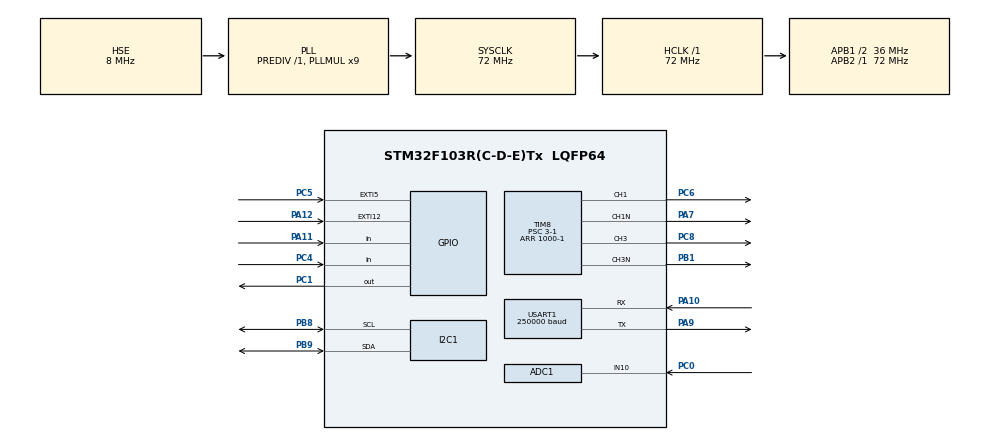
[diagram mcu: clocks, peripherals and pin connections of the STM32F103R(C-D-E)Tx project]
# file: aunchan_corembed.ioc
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ADC1.Channel-36\#ChannelRegularConversion=ADC_CHANNEL_10
ADC1.Channel-39\#ChannelRegularConversion=ADC_CHANNEL_TEMPSENSOR
ADC1.ContinuousConvMode=ENABLE
ADC1.DataAlign=ADC_DATAALIGN_RIGHT
ADC1.DiscontinuousConvMode=DISABLE
ADC1.EnableAnalogWatchDog=false
ADC1.EnableRegularConversion=ENABLE
ADC1.ExternalTrigConv=ADC_SOFTWARE_START
ADC1.InjNumberOfConversion=0
ADC1.NbrOfConversion=2
ADC1.NbrOfConversionFlag=1
ADC1.Rank-36\#ChannelRegularConversion=1
ADC1.Rank-39\#ChannelRegularConversion=2
ADC1.SamplingTime-36\#ChannelRegularConversion=ADC_SAMPLETIME_55CYCLES_5
ADC1.SamplingTime-39\#ChannelRegularConversion=ADC_SAMPLETIME_55CYCLES_5
ADC1.ScanConvMode=ADC_SCAN_ENABLE
ADC1.master=1
Dma.ADC1.2.Direction=DMA_PERIPH_TO_MEMORY
Dma.ADC1.2.Instance=DMA1_Channel1
Dma.ADC1.2.MemDataAlignment=DMA_MDATAALIGN_WORD
Dma.ADC1.2.MemInc=DMA_MINC_ENABLE
Dma.ADC1.2.Mode=DMA_CIRCULAR
Dma.ADC1.2.PeriphDataAlignment=DMA_PDATAALIGN_WORD
Dma.ADC1.2.PeriphInc=DMA_PINC_DISABLE
Dma.ADC1.2.Priority=DMA_PRIORITY_MEDIUM
Dma.Request0=USART1_RX
Dma.Request1=USART1_TX
Dma.Request2=ADC1
Dma.USART1_RX.0.Direction=DMA_PERIPH_TO_MEMORY
Dma.USART1_RX.0.Instance=DMA1_Channel5
Dma.USART1_RX.0.MemDataAlignment=DMA_MDATAALIGN_BYTE
Dma.USART1_RX.0.MemInc=DMA_MINC_ENABLE
Dma.USART1_RX.0.Mode=DMA_NORMAL
Dma.USART1_RX.0.PeriphDataAlignment=DMA_PDATAALIGN_BYTE
Dma.USART1_RX.0.PeriphInc=DMA_PINC_DISABLE
Dma.USART1_RX.0.Priority=DMA_PRIORITY_VERY_HIGH
Dma.USART1_TX.1.Direction=DMA_MEMORY_TO_PERIPH
Dma.USART1_TX.1.Instance=DMA1_Channel4
Dma.USART1_TX.1.MemDataAlignment=DMA_MDATAALIGN_BYTE
Dma.USART1_TX.1.MemInc=DMA_MINC_ENABLE
Dma.USART1_TX.1.Mode=DMA_NORMAL
Dma.USART1_TX.1.PeriphDataAlignment=DMA_PDATAALIGN_BYTE
Dma.USART1_TX.1.PeriphInc=DMA_PINC_DISABLE
Dma.USART1_TX.1.Priority=DMA_PRIORITY_VERY_HIGH
I2C1.I2C_Mode=I2C_Fast
I2C1.NoStretchMode=I2C_NOSTRETCH_DISABLE
Mcu.Family=STM32F1
Mcu.Name=STM32F103R(C-D-E)Tx
Mcu.Package=LQFP64
NVIC.ADC1_2_IRQn=true\:0\:0\:false\:false\:true\:true
NVIC.DMA1_Channel1_IRQn=true\:0\:0\:false\:false\:true\:false
NVIC.DMA1_Channel4_IRQn=true\:0\:0\:false\:false\:true\:false
NVIC.DMA1_Channel5_IRQn=true\:0\:0\:false\:false\:true\:false
NVIC.EXTI15_10_IRQn=true\:0\:0\:false\:false\:true\:true
NVIC.EXTI9_5_IRQn=true\:0\:0\:false\:false\:true\:true
NVIC.PriorityGroup=NVIC_PRIORITYGROUP_4
NVIC.TIM6_IRQn=true\:0\:0\:true\:true\:true\:1\:true
NVIC.USART1_IRQn=true\:0\:0\:false\:false\:true\:true
PA10.GPIO_Mode=GPIO_MODE_INPUT
PA10.GPIO_PuPd=GPIO_NOPULL
PA10.Mode=Asynchronous
PA10.Signal=USART1_RX
PA11.Signal=GPIO_Input
PA12.GPIO_ModeDefaultEXTI=GPIO_MODE_IT_RISING_FALLING
PA12.GPIO_PuPd=GPIO_NOPULL
PA12.Signal=GPXTI12
PA13.Mode=Serial_Wire
PA13.Signal=SYS_JTMS-SWDIO
PA14.Mode=Serial_Wire
PA14.Signal=SYS_JTCK-SWCLK
PA7.GPIO_Speed=GPIO_SPEED_FREQ_HIGH
PA7.Mode=PWM Generation1 CH1 CH1N
PA7.Signal=TIM8_CH1N
PA9.Mode=Asynchronous
PA9.Signal=USART1_TX
PB1.GPIO_Speed=GPIO_SPEED_FREQ_HIGH
PB1.Mode=PWM Generation3 CH3 CH3N
PB1.Signal=TIM8_CH3N
PB8.GPIO_Mode=GPIO_MODE_AF_OD
PB8.GPIO_Speed=GPIO_SPEED_FREQ_HIGH
PB8.Mode=I2C
PB8.Signal=I2C1_SCL
PB9.GPIO_Mode=GPIO_MODE_AF_OD
PB9.GPIO_Speed=GPIO_SPEED_FREQ_HIGH
PB9.Mode=I2C
PB9.Signal=I2C1_SDA
PC0.Signal=ADCx_IN10
PC1.Signal=GPIO_Output
PC4.Signal=GPIO_Input
PC5.GPIO_ModeDefaultEXTI=GPIO_MODE_IT_RISING_FALLING
PC5.GPIO_PuPd=GPIO_NOPULL
PC5.Signal=GPXTI5
PC6.GPIO_Speed=GPIO_SPEED_FREQ_HIGH
PC6.Signal=S_TIM8_CH1
PC8.GPIO_Speed=GPIO_SPEED_FREQ_HIGH
PC8.Signal=S_TIM8_CH3
PD0-OSC_IN.Mode=HSE-External-Oscillator
PD0-OSC_IN.Signal=RCC_OSC_IN
PD1-OSC_OUT.Mode=HSE-External-Oscillator
PD1-OSC_OUT.Signal=RCC_OSC_OUT
ProjectManager.HeapSize=0x200
ProjectManager.StackSize=0x400
ProjectManager.TargetToolchain=SW4STM32
RCC.ADCPresc=RCC_ADCPCLK2_DIV8
RCC.AHBFreq_Value=72000000
RCC.APB1CLKDivider=RCC_HCLK_DIV2
RCC.APB1Freq_Value=36000000
RCC.APB1TimFreq_Value=72000000
RCC.APB2Freq_Value=72000000
RCC.APB2TimFreq_Value=72000000
RCC.HCLKFreq_Value=72000000
RCC.PLLMUL=RCC_PLL_MUL9
RCC.PLLSourceVirtual=RCC_PLLSOURCE_HSE
RCC.SYSCLKFreq_VALUE=72000000
RCC.SYSCLKSource=RCC_SYSCLKSOURCE_PLLCLK
RCC.USBFreq_Value=72000000
SH.ADCx_IN10.0=ADC1_IN10,IN10
SH.S_TIM8_CH1.0=TIM8_CH1,PWM Generation1 CH1 CH1N
SH.S_TIM8_CH3.0=TIM8_CH3,PWM Generation3 CH3 CH3N
TIM6.Period=1000-1
TIM6.Prescaler=720-1
TIM8.Channel-PWM\ Generation1\ CH1\ CH1N=TIM_CHANNEL_1
TIM8.Channel-PWM\ Generation3\ CH3\ CH3N=TIM_CHANNEL_3
TIM8.DeadTime=72
TIM8.Period=1000-1
TIM8.Prescaler=3-1
TIM8.Pulse-PWM\ Generation1\ CH1\ CH1N=0
TIM8.Pulse-PWM\ Generation3\ CH3\ CH3N=0
USART1.BaudRate=250000
USART1.VirtualMode=VM_ASYNC
VP_ADC1_TempSens_Input.Mode=IN-TempSens
VP_TIM6_VS_ClockSourceINT.Mode=Enable_Timer
board=aunchan_corembed

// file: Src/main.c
/**
  ******************************************************************************
  * @file           : main.c
  * @brief          : Main program body
  ******************************************************************************
  ** This notice applies to any and all portions of this file
  * that are not between comment pairs USER CODE BEGIN and
  * USER CODE END. Other portions of this file, whether
  * inserted by the user or by software development tools
  * are owned by their respective copyright owners.
  *
  * COPYRIGHT(c) 2018 STMicroelectronics
  *
  * Redistribution and use in source and binary forms, with or without modification,
  * are permitted provided that the following conditions are met:
  *   1. Redistributions of source code must retain the above copyright notice,
  *      this list of conditions and the following disclaimer.
  *   2. Redistributions in binary form must reproduce the above copyright notice,
  *      this list of conditions and the following disclaimer in the documentation
  *      and/or other materials provided with the distribution.
  *   3. Neither the name of STMicroelectronics nor the names of its contributors
  *      may be used to endorse or promote products derived from this software
  *      without specific prior written permission.
  *
  * THIS SOFTWARE IS PROVIDED BY THE COPYRIGHT HOLDERS AND CONTRIBUTORS "AS IS"
  * AND ANY EXPRESS OR IMPLIED WARRANTIES, INCLUDING, BUT NOT LIMITED TO, THE
  * IMPLIED WARRANTIES OF MERCHANTABILITY AND FITNESS FOR A PARTICULAR PURPOSE ARE
  * DISCLAIMED. IN NO EVENT SHALL THE COPYRIGHT HOLDER OR CONTRIBUTORS BE LIABLE
  * FOR ANY DIRECT, INDIRECT, INCIDENTAL, SPECIAL, EXEMPLARY, OR CONSEQUENTIAL
  * DAMAGES (INCLUDING, BUT NOT LIMITED TO, PROCUREMENT OF SUBSTITUTE GOODS OR
  * SERVICES; LOSS OF USE, DATA, OR PROFITS; OR BUSINESS INTERRUPTION) HOWEVER
  * CAUSED AND ON ANY THEORY OF LIABILITY, WHETHER IN CONTRACT, STRICT LIABILITY,
  * OR TORT (INCLUDING NEGLIGENCE OR OTHERWISE) ARISING IN ANY WAY OUT OF THE USE
  * OF THIS SOFTWARE, EVEN IF ADVISED OF THE POSSIBILITY OF SUCH DAMAGE.
  *
  ******************************************************************************
  */
#include "main.h"
#include "stm32f1xx_hal.h"

/* USER CODE BEGIN Includes */
#include "mpu6050.h"
#include "mainpp.h"
#include <math.h>
/*------Initial Machanism------*/
#define WHEEL_RADIUS 0.031
#define WHEEL_SEPARATION 0.19

/* USER CODE END Includes */

ADC_HandleTypeDef hadc1;
DMA_HandleTypeDef hdma_adc1;

I2C_HandleTypeDef hi2c1;

TIM_HandleTypeDef htim6;
TIM_HandleTypeDef htim8;

UART_HandleTypeDef huart1;
DMA_HandleTypeDef hdma_usart1_rx;
DMA_HandleTypeDef hdma_usart1_tx;

/* USER CODE BEGIN PV */
/* Private variables ---------------------------------------------------------*/
/*------ Motor and Encoder ------*/
typedef struct Encoder
{
	//uint8_t signalA;
	//uint8_t signalB;
	//uint8_t currentState;
	//uint8_t previousState;
	int steps;
	int pre_steps;
}Encoder;
typedef struct Motor
{
	int PWM;
	float velocity;
	float Kp;
	float Ki;
	float Kd;
	float error;
	float error_prior;
	float integral;
	float derivative;
	Encoder encoder;
	float angle,preAngle;
}Motor;
Motor M1 = {
		.Kp = 0.1,
		.Ki = 3,
		.Kd = 0.5,
		.error_prior = 0,
		.integral = 0,
		.encoder.pre_steps = 0,
		.preAngle = 0
};
Motor M2 = {
		.Kp = 0.1,
		.Ki = 3,
		.Kd = 0.5,
		.error_prior = 0,
		.integral = 0,
		.encoder.pre_steps = 0,
		.preAngle = 0
};
//float samplingRate = 0.001;
float speedWheel[2] = {0};
Twist msg;
Twist preMsg;

/*------ Imu ------*/
Imu mpu6050;
/*------ RTOS ------*/
int nowTick = 0;
int lastTickROS = 0;
int lastTickIMU = 0;
FlagStatus debugFlag = RESET;

/* USER CODE END PV */

void SystemClock_Config(void);
static void MX_GPIO_Init(void);
static void MX_DMA_Init(void);
static void MX_USART1_UART_Init(void);
static void MX_TIM8_Init(void);
static void MX_I2C1_Init(void);
static void MX_TIM6_Init(void);
static void MX_ADC1_Init(void);
static void MX_NVIC_Init(void);

void HAL_TIM_MspPostInit(TIM_HandleTypeDef *htim);

/* USER CODE BEGIN PFP */
/* Private function prototypes -----------------------------------------------*/
#ifdef __GNUC__
/* With GCC, small printf (option LD Linker->Libraries->Small printf
   set to 'Yes') calls __io_putchar() */
#define PUTCHAR_PROTOTYPE int __io_putchar(int ch)
#else
#define PUTCHAR_PROTOTYPE int fputc(int ch, FILE *f)
#endif /* __GNUC__ */

void setPWM(TIM_HandleTypeDef * _timer, uint32_t _channel, uint16_t _pulse);
void control (int desired_vel, Motor* M);
/* USER CODE END PFP */

/* USER CODE BEGIN 0 */
uint32_t ADC_BUFF[2];
uint32_t rawBattery;
uint32_t rawTemp;
float battery;
float temp;
void HAL_ADC_ConvCpltCallback(ADC_HandleTypeDef* hadc)
{
		rawBattery = ADC_BUFF[0];
		rawTemp = ADC_BUFF[1];
}
/* USER CODE END 0 */

int main(void)
{

  /* MCU Configuration----------------------------------------------------------*/

  /* Reset of all peripherals, Initializes the Flash interface and the Systick. */
  HAL_Init();

  /* Configure the system clock */
  SystemClock_Config();

  /* Initialize all configured peripherals */
  MX_GPIO_Init();
  MX_DMA_Init();
  MX_USART1_UART_Init();
  MX_TIM8_Init();
  MX_I2C1_Init();
  MX_TIM6_Init();
  MX_ADC1_Init();

  /* Initialize interrupts */
  MX_NVIC_Init();
  /* USER CODE BEGIN 2 */

  HAL_ADC_Start_DMA(&hadc1,(uint32_t*)ADC_BUFF,2);
  HAL_ADC_Start_IT(&hadc1);

  HAL_TIM_PWM_Start(&htim8,TIM_CHANNEL_3);
  HAL_TIMEx_PWMN_Start(&htim8,TIM_CHANNEL_3);
  HAL_TIM_PWM_Start(&htim8,TIM_CHANNEL_1);
  HAL_TIMEx_PWMN_Start(&htim8,TIM_CHANNEL_1);
  HAL_TIM_Base_Start_IT(&htim6);

  HAL_Delay(10);

  setPWM(&htim8,TIM_CHANNEL_3,500);
  setPWM(&htim8,TIM_CHANNEL_1,500);

  mpu6050_init();
  setup();
  float yaw;
  //HAL_Delay(10000);
  uint32_t magnitude;
  /* USER CODE END 2 */

  /* Infinite loop */
  while (1)
  {

  /* USER CODE BEGIN 3 */
	  nowTick = HAL_GetTick();
	  if ((nowTick - lastTickROS) >= 50) //20Hz
	  {
		  loop();
		  battery = (((float)rawBattery * 3.3 * 11.67) / 4095.0);
		  temp = ((((float)rawTemp / 4095 * 3600) - 1430) / 4.3) + 25;
		  //ros2pid(pid);
		  //M1.Kp = M2.Kp = pid[0];
		  //M1.Kp = M2.Kp = pid[1];
		  //M1.Kp = M2.Kp = pid[2];
		  //double siny = +2.0 * (mpu6050.quat[0] * mpu6050.quat[3] + mpu6050.quat[1] * mpu6050.quat[2]);
		  //double cosy = +1.0 - 2.0 * (mpu6050.quat[2] * mpu6050.quat[2] + mpu6050.quat[3] * mpu6050.quat[3]);
		  //yaw = atan2(siny, cosy);
		  //yaw   *= 180.0f / PI;
		  //char debug[100];
		  //sprintf(debug,"Yaw = %f\r\n",yaw);
		  //DebugROS(debug);
		  lastTickROS = nowTick;
	  }

	  if ((nowTick - lastTickIMU) >= 10) //100Hz
	  {
		  mpu6050_read(mpu6050.gyro, mpu6050.accel, mpu6050.quat);
	      mpu6050.gyro[0] = (mpu6050.gyro[0] * PI)/180;
	      mpu6050.gyro[1] = (mpu6050.gyro[1] * PI)/180;
	      mpu6050.gyro[2] = (mpu6050.gyro[2] * PI)/180;
	      mpu6050.accel[0] = mpu6050.accel[0] * 9.80665;
	      mpu6050.accel[1] = mpu6050.accel[1] * 9.80665;
	      mpu6050.accel[2] = mpu6050.accel[2] * 9.80665;
	      magnitude = sqrt(mpu6050.quat[0]*mpu6050.quat[0] + mpu6050.quat[1]*mpu6050.quat[1] + mpu6050.quat[2]*mpu6050.quat[2] + mpu6050.quat[3]*mpu6050.quat[3]);
	      //if(magnitude > 0 && magnitude <= 65536)
	      //{
			  mpu6050.quat[0] /= (float)magnitude;
			  mpu6050.quat[1] /= (float)magnitude;
			  mpu6050.quat[2] /= (float)magnitude;
			  mpu6050.quat[3] /= (float)magnitude;
			  imu2ros(mpu6050);
	      //}
		  //char debug[100];
		  //sprintf(debug,"%lu\r\n",magnitude);
		  //DebugROS(debug);
		  lastTickIMU = nowTick;

	  }

	  //float siny = +2.0 * (mpu6050.quat[0] * mpu6050.quat[3] + mpu6050.quat[1] * mpu6050.quat[2]);
	  //float cosy = +1.0 - 2.0 * (mpu6050.quat[2] * mpu6050.quat[2] + mpu6050.quat[3] * mpu6050.quat[3]);
	  //yaw = atan2(siny, cosy);
	  //float delta_x = ();

	  if(debugFlag == SET)
	  {
		  debugFlag = RESET;

		  ros2velocity(&msg);
		  /*if(msg.linear[0] * preMsg.linear[0] < 0 || msg.angular[2] * preMsg.angular[2] < 0)
		  {
			  M1.error = M2.error = 0;
			  M1.error_prior = M2.error_prior = 0;
			  M1.integral = M2.integral = 0;
			  M1.derivative = M2.derivative = 0;
		  }
		  preMsg = msg;*/

		  speedWheel[0] = -msg.linear[0] + (msg.angular[2] * WHEEL_SEPARATION / 2);
		  speedWheel[1] = -msg.linear[0] - (msg.angular[2] * WHEEL_SEPARATION / 2);
		  speedWheel[0] = speedWheel[0] / WHEEL_RADIUS;
		  speedWheel[1] = speedWheel[1] / WHEEL_RADIUS;

		  M1.angle = M1.encoder.steps * ((2 * 3.1415) / 780);
		  M1.velocity = (M1.angle - M1.preAngle) / 0.01;
		  M1.preAngle = M1.angle;
		  M2.angle = M2.encoder.steps * ((2 * 3.1415) / 780);
		  M2.velocity = (M2.angle - M2.preAngle) / 0.01;
		  M2.preAngle = M2.angle;
		  control(speedWheel[0],&M1);
		  control(speedWheel[1],&M2);

		  //char Debug[100];
		  //sprintf(Debug,"Desired = %f, Current =  %f ",speedWheel[0],M1.velocity);
		  //sprintf(Debug,"Desired = %f, Current =  %f\r\n",speedWheel[1],M2.velocity);
		  //DebugROS(Debug);

		  if(msg.linear[0] == 0 && msg.angular[2] == 0)
		  {
			  HAL_TIM_PWM_Stop(&htim8,TIM_CHANNEL_3);
			  HAL_TIMEx_PWMN_Stop(&htim8,TIM_CHANNEL_3);
			  HAL_TIM_PWM_Stop(&htim8,TIM_CHANNEL_1);
			  HAL_TIMEx_PWMN_Stop(&htim8,TIM_CHANNEL_1);
			  M1.error = M2.error = 0;
			  M1.error_prior = M2.error_prior = 0;
			  M1.integral = M2.integral = 0;
			  M1.derivative = M2.derivative = 0;
		  }

		  else
		  {
			  setPWM(&htim8,TIM_CHANNEL_3,M1.PWM);
			  setPWM(&htim8,TIM_CHANNEL_1,M2.PWM);
		  }
	  }

  }
  /* USER CODE END 3 */

}

void SystemClock_Config(void)
{

  RCC_OscInitTypeDef RCC_OscInitStruct;
  RCC_ClkInitTypeDef RCC_ClkInitStruct;
  RCC_PeriphCLKInitTypeDef PeriphClkInit;

    /**Initializes the CPU, AHB and APB busses clocks
    */
  RCC_OscInitStruct.OscillatorType = RCC_OSCILLATORTYPE_HSE;
  RCC_OscInitStruct.HSEState = RCC_HSE_ON;
  RCC_OscInitStruct.HSEPredivValue = RCC_HSE_PREDIV_DIV1;
  RCC_OscInitStruct.HSIState = RCC_HSI_ON;
  RCC_OscInitStruct.PLL.PLLState = RCC_PLL_ON;
  RCC_OscInitStruct.PLL.PLLSource = RCC_PLLSOURCE_HSE;
  RCC_OscInitStruct.PLL.PLLMUL = RCC_PLL_MUL9;
  if (HAL_RCC_OscConfig(&RCC_OscInitStruct) != HAL_OK)
  {
    _Error_Handler(__FILE__, __LINE__);
  }

    /**Initializes the CPU, AHB and APB busses clocks
    */
  RCC_ClkInitStruct.ClockType = RCC_CLOCKTYPE_HCLK|RCC_CLOCKTYPE_SYSCLK
                              |RCC_CLOCKTYPE_PCLK1|RCC_CLOCKTYPE_PCLK2;
  RCC_ClkInitStruct.SYSCLKSource = RCC_SYSCLKSOURCE_PLLCLK;
  RCC_ClkInitStruct.AHBCLKDivider = RCC_SYSCLK_DIV1;
  RCC_ClkInitStruct.APB1CLKDivider = RCC_HCLK_DIV2;
  RCC_ClkInitStruct.APB2CLKDivider = RCC_HCLK_DIV1;

  if (HAL_RCC_ClockConfig(&RCC_ClkInitStruct, FLASH_LATENCY_2) != HAL_OK)
  {
    _Error_Handler(__FILE__, __LINE__);
  }

  PeriphClkInit.PeriphClockSelection = RCC_PERIPHCLK_ADC;
  PeriphClkInit.AdcClockSelection = RCC_ADCPCLK2_DIV8;
  if (HAL_RCCEx_PeriphCLKConfig(&PeriphClkInit) != HAL_OK)
  {
    _Error_Handler(__FILE__, __LINE__);
  }

    /**Configure the Systick interrupt time
    */
  HAL_SYSTICK_Config(HAL_RCC_GetHCLKFreq()/1000);

    /**Configure the Systick
    */
  HAL_SYSTICK_CLKSourceConfig(SYSTICK_CLKSOURCE_HCLK);

  /* SysTick_IRQn interrupt configuration */
  HAL_NVIC_SetPriority(SysTick_IRQn, 0, 0);
}

/**
  * @brief NVIC Configuration.
  * @retval None
  */
static void MX_NVIC_Init(void)
{
  /* TIM6_IRQn interrupt configuration */
  HAL_NVIC_SetPriority(TIM6_IRQn, 0, 0);
  HAL_NVIC_EnableIRQ(TIM6_IRQn);
}

/* ADC1 init function */
static void MX_ADC1_Init(void)
{

  ADC_ChannelConfTypeDef sConfig;

    /**Common config
    */
  hadc1.Instance = ADC1;
  hadc1.Init.ScanConvMode = ADC_SCAN_ENABLE;
  hadc1.Init.ContinuousConvMode = ENABLE;
  hadc1.Init.DiscontinuousConvMode = DISABLE;
  hadc1.Init.ExternalTrigConv = ADC_SOFTWARE_START;
  hadc1.Init.DataAlign = ADC_DATAALIGN_RIGHT;
  hadc1.Init.NbrOfConversion = 2;
  if (HAL_ADC_Init(&hadc1) != HAL_OK)
  {
    _Error_Handler(__FILE__, __LINE__);
  }

    /**Configure Regular Channel
    */
  sConfig.Channel = ADC_CHANNEL_10;
  sConfig.Rank = ADC_REGULAR_RANK_1;
  sConfig.SamplingTime = ADC_SAMPLETIME_55CYCLES_5;
  if (HAL_ADC_ConfigChannel(&hadc1, &sConfig) != HAL_OK)
  {
    _Error_Handler(__FILE__, __LINE__);
  }

    /**Configure Regular Channel
    */
  sConfig.Channel = ADC_CHANNEL_TEMPSENSOR;
  sConfig.Rank = ADC_REGULAR_RANK_2;
  if (HAL_ADC_ConfigChannel(&hadc1, &sConfig) != HAL_OK)
  {
    _Error_Handler(__FILE__, __LINE__);
  }

}

/* I2C1 init function */
static void MX_I2C1_Init(void)
{

  hi2c1.Instance = I2C1;
  hi2c1.Init.ClockSpeed = 400000;
  hi2c1.Init.DutyCycle = I2C_DUTYCYCLE_2;
  hi2c1.Init.OwnAddress1 = 0;
  hi2c1.Init.AddressingMode = I2C_ADDRESSINGMODE_7BIT;
  hi2c1.Init.DualAddressMode = I2C_DUALADDRESS_DISABLE;
  hi2c1.Init.OwnAddress2 = 0;
  hi2c1.Init.GeneralCallMode = I2C_GENERALCALL_DISABLE;
  hi2c1.Init.NoStretchMode = I2C_NOSTRETCH_DISABLE;
  if (HAL_I2C_Init(&hi2c1) != HAL_OK)
  {
    _Error_Handler(__FILE__, __LINE__);
  }

}

/* TIM6 init function */
static void MX_TIM6_Init(void)
{

  TIM_MasterConfigTypeDef sMasterConfig;

  htim6.Instance = TIM6;
  htim6.Init.Prescaler = 720-1;
  htim6.Init.CounterMode = TIM_COUNTERMODE_UP;
  htim6.Init.Period = 1000-1;
  htim6.Init.AutoReloadPreload = TIM_AUTORELOAD_PRELOAD_DISABLE;
  if (HAL_TIM_Base_Init(&htim6) != HAL_OK)
  {
    _Error_Handler(__FILE__, __LINE__);
  }

  sMasterConfig.MasterOutputTrigger = TIM_TRGO_RESET;
  sMasterConfig.MasterSlaveMode = TIM_MASTERSLAVEMODE_DISABLE;
  if (HAL_TIMEx_MasterConfigSynchronization(&htim6, &sMasterConfig) != HAL_OK)
  {
    _Error_Handler(__FILE__, __LINE__);
  }

}

/* TIM8 init function */
static void MX_TIM8_Init(void)
{

  TIM_MasterConfigTypeDef sMasterConfig;
  TIM_OC_InitTypeDef sConfigOC;
  TIM_BreakDeadTimeConfigTypeDef sBreakDeadTimeConfig;

  htim8.Instance = TIM8;
  htim8.Init.Prescaler = 3-1;
  htim8.Init.CounterMode = TIM_COUNTERMODE_UP;
  htim8.Init.Period = 1000-1;
  htim8.Init.ClockDivision = TIM_CLOCKDIVISION_DIV1;
  htim8.Init.RepetitionCounter = 0;
  htim8.Init.AutoReloadPreload = TIM_AUTORELOAD_PRELOAD_DISABLE;
  if (HAL_TIM_PWM_Init(&htim8) != HAL_OK)
  {
    _Error_Handler(__FILE__, __LINE__);
  }

  sMasterConfig.MasterOutputTrigger = TIM_TRGO_RESET;
  sMasterConfig.MasterSlaveMode = TIM_MASTERSLAVEMODE_DISABLE;
  if (HAL_TIMEx_MasterConfigSynchronization(&htim8, &sMasterConfig) != HAL_OK)
  {
    _Error_Handler(__FILE__, __LINE__);
  }

  sConfigOC.OCMode = TIM_OCMODE_PWM1;
  sConfigOC.Pulse = 0;
  sConfigOC.OCPolarity = TIM_OCPOLARITY_HIGH;
  sConfigOC.OCNPolarity = TIM_OCNPOLARITY_HIGH;
  sConfigOC.OCFastMode = TIM_OCFAST_DISABLE;
  sConfigOC.OCIdleState = TIM_OCIDLESTATE_RESET;
  sConfigOC.OCNIdleState = TIM_OCNIDLESTATE_RESET;
  if (HAL_TIM_PWM_ConfigChannel(&htim8, &sConfigOC, TIM_CHANNEL_1) != HAL_OK)
  {
    _Error_Handler(__FILE__, __LINE__);
  }

  if (HAL_TIM_PWM_ConfigChannel(&htim8, &sConfigOC, TIM_CHANNEL_3) != HAL_OK)
  {
    _Error_Handler(__FILE__, __LINE__);
  }

  sBreakDeadTimeConfig.OffStateRunMode = TIM_OSSR_DISABLE;
  sBreakDeadTimeConfig.OffStateIDLEMode = TIM_OSSI_DISABLE;
  sBreakDeadTimeConfig.LockLevel = TIM_LOCKLEVEL_OFF;
  sBreakDeadTimeConfig.DeadTime = 72;
  sBreakDeadTimeConfig.BreakState = TIM_BREAK_DISABLE;
  sBreakDeadTimeConfig.BreakPolarity = TIM_BREAKPOLARITY_HIGH;
  sBreakDeadTimeConfig.AutomaticOutput = TIM_AUTOMATICOUTPUT_DISABLE;
  if (HAL_TIMEx_ConfigBreakDeadTime(&htim8, &sBreakDeadTimeConfig) != HAL_OK)
  {
    _Error_Handler(__FILE__, __LINE__);
  }

  HAL_TIM_MspPostInit(&htim8);

}

/* USART1 init function */
static void MX_USART1_UART_Init(void)
{

  huart1.Instance = USART1;
  huart1.Init.BaudRate = 250000;
  huart1.Init.WordLength = UART_WORDLENGTH_8B;
  huart1.Init.StopBits = UART_STOPBITS_1;
  huart1.Init.Parity = UART_PARITY_NONE;
  huart1.Init.Mode = UART_MODE_TX_RX;
  huart1.Init.HwFlowCtl = UART_HWCONTROL_NONE;
  huart1.Init.OverSampling = UART_OVERSAMPLING_16;
  if (HAL_UART_Init(&huart1) != HAL_OK)
  {
    _Error_Handler(__FILE__, __LINE__);
  }

}

static void MX_DMA_Init(void)
{
  /* DMA controller clock enable */
  __HAL_RCC_DMA1_CLK_ENABLE();

  /* DMA interrupt init */
  /* DMA1_Channel1_IRQn interrupt configuration */
  HAL_NVIC_SetPriority(DMA1_Channel1_IRQn, 0, 0);
  HAL_NVIC_EnableIRQ(DMA1_Channel1_IRQn);
  /* DMA1_Channel4_IRQn interrupt configuration */
  HAL_NVIC_SetPriority(DMA1_Channel4_IRQn, 0, 0);
  HAL_NVIC_EnableIRQ(DMA1_Channel4_IRQn);
  /* DMA1_Channel5_IRQn interrupt configuration */
  HAL_NVIC_SetPriority(DMA1_Channel5_IRQn, 0, 0);
  HAL_NVIC_EnableIRQ(DMA1_Channel5_IRQn);

}

/** Configure pins as
        * Analog
        * Input
        * Output
        * EVENT_OUT
        * EXTI
*/
static void MX_GPIO_Init(void)
{

  GPIO_InitTypeDef GPIO_InitStruct;

  /* GPIO Ports Clock Enable */
  __HAL_RCC_GPIOD_CLK_ENABLE();
  __HAL_RCC_GPIOC_CLK_ENABLE();
  __HAL_RCC_GPIOA_CLK_ENABLE();
  __HAL_RCC_GPIOB_CLK_ENABLE();

  /*Configure GPIO pin Output Level */
  HAL_GPIO_WritePin(GPIOC, GPIO_PIN_1, GPIO_PIN_RESET);

  /*Configure GPIO pin : PC1 */
  GPIO_InitStruct.Pin = GPIO_PIN_1;
  GPIO_InitStruct.Mode = GPIO_MODE_OUTPUT_PP;
  GPIO_InitStruct.Speed = GPIO_SPEED_FREQ_LOW;
  HAL_GPIO_Init(GPIOC, &GPIO_InitStruct);

  /*Configure GPIO pin : PC4 */
  GPIO_InitStruct.Pin = GPIO_PIN_4;
  GPIO_InitStruct.Mode = GPIO_MODE_INPUT;
  GPIO_InitStruct.Pull = GPIO_NOPULL;
  HAL_GPIO_Init(GPIOC, &GPIO_InitStruct);

  /*Configure GPIO pin : PC5 */
  GPIO_InitStruct.Pin = GPIO_PIN_5;
  GPIO_InitStruct.Mode = GPIO_MODE_IT_RISING_FALLING;
  GPIO_InitStruct.Pull = GPIO_NOPULL;
  HAL_GPIO_Init(GPIOC, &GPIO_InitStruct);

  /*Configure GPIO pin : PA11 */
  GPIO_InitStruct.Pin = GPIO_PIN_11;
  GPIO_InitStruct.Mode = GPIO_MODE_INPUT;
  GPIO_InitStruct.Pull = GPIO_NOPULL;
  HAL_GPIO_Init(GPIOA, &GPIO_InitStruct);

  /*Configure GPIO pin : PA12 */
  GPIO_InitStruct.Pin = GPIO_PIN_12;
  GPIO_InitStruct.Mode = GPIO_MODE_IT_RISING_FALLING;
  GPIO_InitStruct.Pull = GPIO_NOPULL;
  HAL_GPIO_Init(GPIOA, &GPIO_InitStruct);

  /* EXTI interrupt init*/
  HAL_NVIC_SetPriority(EXTI9_5_IRQn, 0, 0);
  HAL_NVIC_EnableIRQ(EXTI9_5_IRQn);

  HAL_NVIC_SetPriority(EXTI15_10_IRQn, 0, 0);
  HAL_NVIC_EnableIRQ(EXTI15_10_IRQn);

}

/* USER CODE BEGIN 4 */
void HAL_GPIO_EXTI_Callback(uint16_t GPIO_Pin)
{
	if(GPIO_Pin == GPIO_PIN_12){
		if(HAL_GPIO_ReadPin(GPIOA,GPIO_PIN_12) == 1)
			HAL_GPIO_ReadPin(GPIOA,GPIO_PIN_11) == 1 ? M1.encoder.steps++ : M1.encoder.steps--;
		else
			HAL_GPIO_ReadPin(GPIOA,GPIO_PIN_11) == 1 ? M1.encoder.steps-- : M1.encoder.steps++;
	}
	if(GPIO_Pin == GPIO_PIN_5){
		if(HAL_GPIO_ReadPin(GPIOC,GPIO_PIN_5) == 1)
			HAL_GPIO_ReadPin(GPIOC,GPIO_PIN_4) == 1 ?  M2.encoder.steps-- : M2.encoder.steps++;
		else
			HAL_GPIO_ReadPin(GPIOC,GPIO_PIN_4) == 1 ?  M2.encoder.steps++ : M2.encoder.steps--;
	}
}
void HAL_TIM_PeriodElapsedCallback(TIM_HandleTypeDef *htim)
{
	if(htim->Instance == TIM6){
		 debugFlag = SET;
	}
}
void setPWM(TIM_HandleTypeDef * _timer, uint32_t _channel, uint16_t _pulse)
{
	TIM_OC_InitTypeDef sConfigOC;
	sConfigOC.OCMode = TIM_OCMODE_PWM1;
	sConfigOC.Pulse = _pulse;
	sConfigOC.OCPolarity = TIM_OCPOLARITY_HIGH;
	sConfigOC.OCNPolarity = TIM_OCNPOLARITY_HIGH;
	sConfigOC.OCFastMode = TIM_OCFAST_DISABLE;
	sConfigOC.OCIdleState = TIM_OCIDLESTATE_RESET;
	sConfigOC.OCNIdleState = TIM_OCNIDLESTATE_RESET;
	HAL_TIM_PWM_ConfigChannel(_timer, &sConfigOC, _channel);

	HAL_TIM_PWM_Start(_timer, _channel);
	HAL_TIMEx_PWMN_Start(_timer,_channel);
}
void control (int desired_vel, Motor* M){
	M->error = desired_vel - M->velocity;
	//M->integral = M->integral + (M->error * samplingRate);
	M->integral = M->integral + M->error;
	//M->derivative = (M->error - M->error_prior) / samplingRate;
	M->derivative = M->error - M->error_prior;
	M->error_prior = M->error;
	//if (M->integral > 10) M->integral = 10;
		//if (M->integral < -10) M->integral = -10;
	M->PWM = M->Kp*M->error + M->Ki*M->integral + M->Kd*M->derivative;
	if (M->PWM >= 0)
		M->PWM = M->PWM <= 500 ? M->PWM + 500:1000;
	else{
		M->PWM = M->PWM * -1;
		M->PWM = M->PWM <= 500 ? 500 - M->PWM:0;
	}

}
/* USER CODE END 4 */

void _Error_Handler(char *file, int line)
{
  while(1)
  {
  }
}

/************************ (C) COPYRIGHT STMicroelectronics *****END OF FILE****/
